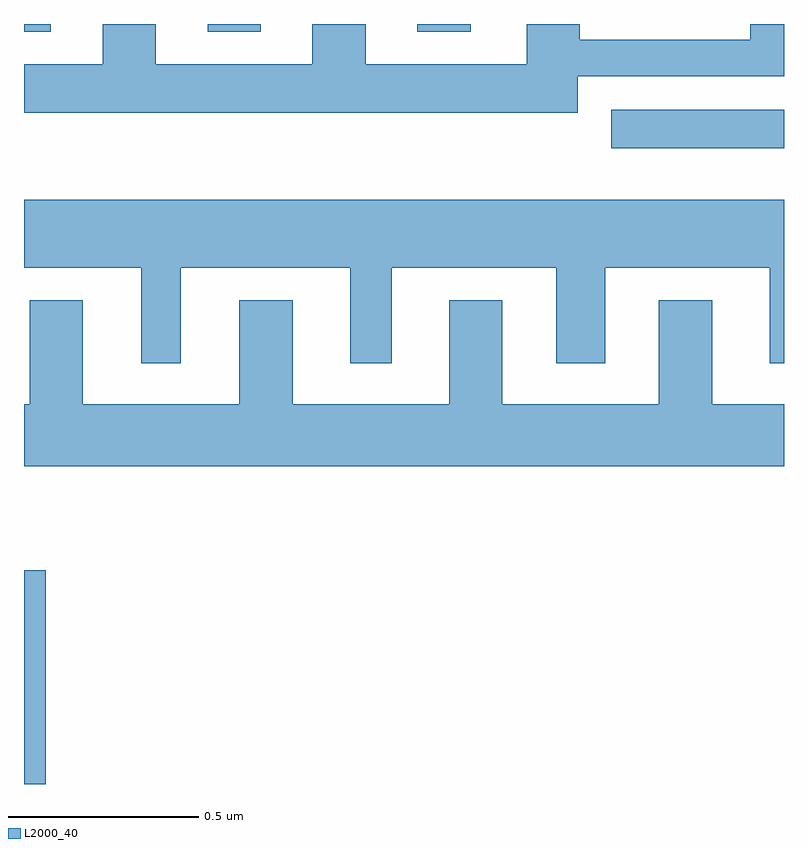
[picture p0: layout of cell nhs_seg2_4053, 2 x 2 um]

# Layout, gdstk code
import gdstk
lib = gdstk.Library(unit=1e-6, precision=1e-09)
def R(c, l, rs):  # rectangles x0, y0, x1, y1
    for r in rs: c.add(gdstk.rectangle(r[:2], r[2:], *l))
def P(c, l, *ps):  # polygons
    for p in ps: c.add(gdstk.Polygon(p, *l))
L2000_40 = (2000, 40)

nhs_seg2_4053 = lib.new_cell('nhs_seg2_4053')
R(nhs_seg2_4053, L2000_40, [(161,646.8,161.057,647.362), (162.546,648.473,163,648.574), (161,648.779,161.071,648.8), (161.483,648.779,161.623,648.8), (162.035,648.779,162.175,648.8)])
P(nhs_seg2_4053, L2000_40, [(162.457,648.663),(163,648.663),(163,648.8),(162.911,648.8),(162.911,648.759),(162.463,648.759),(162.463,648.8),(162.323,648.8),(162.323,648.694),(161.899,648.694),(161.899,648.8),(161.759,648.8),(161.759,648.694),(161.347,648.694),(161.347,648.8),(161.207,648.8),(161.207,648.694),(161,648.694),(161,648.566),(162.457,648.566)],
  [(161.413,648.158),(161.858,648.158),(161.858,647.907),(161.968,647.907),(161.968,648.158),(162.401,648.158),(162.401,647.907),(162.529,647.907),(162.529,648.158),(162.962,648.158),(162.962,647.907),(163,647.907),(163,648.337),(161,648.337),(161,648.158),(161.309,648.158),(161.309,647.907),(161.413,647.907)],
  [(163,647.8),(162.811,647.8),(162.811,648.073),(162.671,648.073),(162.671,647.8),(162.259,647.8),(162.259,648.073),(162.119,648.073),(162.119,647.8),(161.707,647.8),(161.707,648.073),(161.567,648.073),(161.567,647.8),(161.155,647.8),(161.155,648.073),(161.015,648.073),(161.015,647.8),(161,647.8),(161,647.636),(163,647.636)])

lib.write_gds('nhs_seg2_4053.gds')
